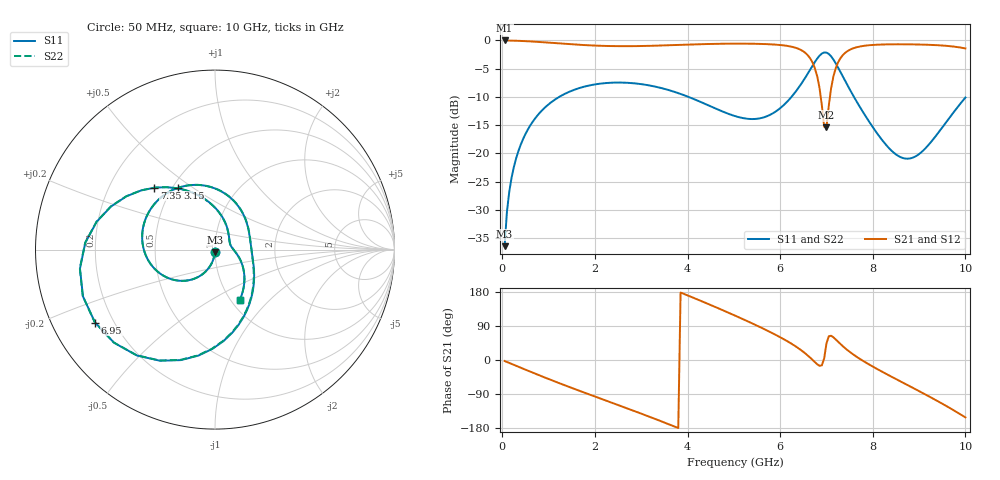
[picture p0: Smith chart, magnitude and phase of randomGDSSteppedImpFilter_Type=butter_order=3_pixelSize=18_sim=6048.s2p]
! freq	dB(S11)	phase(S11)	dB(S12)	phase(S12)
!  dB(S21)	phase(S21)	dB(S22)	phase(S22)
!S-par simulation data
#  GHz  S  DB  R 50
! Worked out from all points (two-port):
!   200 points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, 50 MHz to 10 GHz, reference 50 ohm
!   highest |S21| = 0.00 dB at 50 MHz (marker M1); lowest = -15.4 dB at 7 GHz (marker M2)
!   |S21| within 3 dB of the highest: start of sweep to 6.633 GHz; 7.315 GHz to end of sweep
!   lowest |S11| = -36.4 dB at 50 MHz (marker M3), VSWR 1.03, Z = 49.9 - j1.51 ohm
!   |S11| at or under -10 dB: start of sweep to 1.228 GHz; 4.022 GHz to 6.244 GHz (2.222 GHz wide, 43.3 % of centre); 7.594 GHz to end of sweep
!   |S22| runs from -36.4 to -2.1 dB; largest |S21 - S12| = 0
!   S11 on the Smith chart (normalised r, x): 50 MHz: 1.00, -0.03; 3.15 GHz: 0.53, +0.44; 6.95 GHz: 0.13, -0.28; 7.35 GHz: 0.40, +0.36; 10 GHz: 1.10, -0.68
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0.05  -36.42 -92.9  -0.00 -2.6  -0.00 -2.6  -36.42 -92.9
0.2  -24.32 -100.7  -0.03 -10.3  -0.03 -10.3  -24.32 -100.7
0.5  -16.57 -116.0  -0.13 -25.5  -0.13 -25.5  -16.57 -116.0
1.1  -10.68 -145.5  -0.45 -55.0  -0.45 -55.0  -10.68 -145.6
1.75  -8.23 -175.7  -0.81 -85.1  -0.81 -85.1  -8.23 -175.8
2.45  -7.46 153.0  -1.01 -116.6  -1.01 -116.6  -7.46 152.9
3.15  -7.93 121.2  -0.96 -148.5  -0.96 -148.5  -7.93 121.1
3.4  -8.36 109.6  -0.91 -160.2  -0.91 -160.2  -8.36 109.4
4.2  -10.60 70.8  -0.69 160.5  -0.69 160.5  -10.60 70.4
5.05  -13.45 26.9  -0.57 115.8  -0.57 115.8  -13.46 26.2
5.95  -12.31 -26.5  -0.77 63.4  -0.77 63.4  -12.32 -27.3
6.4  -8.35 -62.4  -1.50 30.6  -1.50 30.6  -8.35 -62.9
6.7  -4.47 -98.9  -3.92 0.2  -3.92 0.2  -4.47 -99.3
6.85  -2.70 -126.4  -8.42 -15.3  -8.42 -15.3  -2.70 -126.7
6.95  -2.13 -148.7  -15.27 3.7  -15.27 3.7  -2.13 -149.0
7  -2.15 -160.4  -15.37 43.8  -15.37 43.8  -2.15 -160.7
7.15  -3.38 166.8  -6.37 60.0  -6.37 60.0  -3.38 166.7
7.35  -6.33 134.4  -2.62 36.8  -2.62 36.8  -6.33 134.3
7.8  -12.82 88.6  -0.97 -3.1  -0.97 -3.1  -12.82 88.9
8.35  -19.06 46.4  -0.69 -40.6  -0.69 -40.6  -19.07 47.0
9.2  -18.53 -8.8  -0.77 -95.1  -0.77 -95.1  -18.54 -8.4
10  -10.11 -63.7  -1.42 -151.5  -1.42 -151.5  -10.11 -63.8
